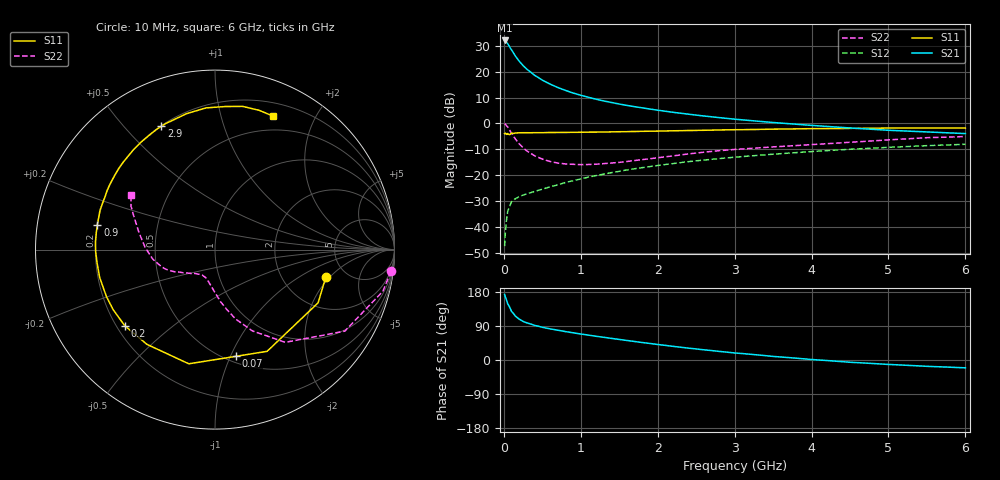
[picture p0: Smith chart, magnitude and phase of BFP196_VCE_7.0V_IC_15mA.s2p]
! Infineon Technologies  Discrete & RF Semiconductors
! BFP196
! VCE =  7.0 V,  IC =  15 mA
! Common Emitter S-Parameters:  Jan 2017
# GHz  S  MA  R  50
!  f  S11  S21  S12  S22
! GHz  MAG  ANG  MAG  ANG  MAG  ANG  MAG  ANG
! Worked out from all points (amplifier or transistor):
!   77 points, 10 MHz to 6 GHz, reference 50 ohm
!   highest |S21| = 32.1 dB at 10 MHz (marker M1)
!   |S21| within 3 dB of that: start of sweep to 85.81 MHz
!   unconditionally stable (mu >= 1): 882 MHz to 2.353 GHz
!   at 130 MHz: K = 0.31, MSG = 28.3 dB, |S12| = -29.6 dB
!   at 2.2 GHz: K = 1.02, MAG = 9.1 dB, |S12| = -15.6 dB
!   at 6 GHz: K = 0.91, MSG = 2.1 dB, |S12| = -8.1 dB
!   S11 on the Smith chart (normalised r, x): 10 MHz: 3.50, -1.81; 70 MHz: 0.56, -1.05; 200 MHz: 0.23, -0.35; 900 MHz: 0.20, +0.10; 2.9 GHz: 0.20, +0.64; 6 GHz: 0.34, +1.48
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0.01  0.6361 -14.0  40.24 173.0  0.0042 82.2  0.9889 -7.0
0.02  0.6464 -27.3  39.87 166.4  0.0079 82.3  0.9634 -14.0
0.05  0.6368 -62.9  35.03 148.3  0.0196 63.8  0.8541 -32.1
0.07  0.6058 -79.0  31.16 141.5  0.0237 56.8  0.7603 -39.1
0.1  0.6528 -102.9  26.45 128.0  0.0304 50.1  0.6478 -52.9
0.15  0.65 -125.7  20.08 115.8  0.0348 43.5  0.4986 -65.3
0.2  0.6578 -139.8  15.97 107.8  0.0382 41.6  0.4028 -73.5
0.25  0.6588 -149.6  13.13 101.9  0.041 41.6  0.3376 -79.1
0.3  0.6589 -156.7  11.13 97.9  0.0432 41.2  0.2917 -83.9
0.4  0.6612 -166.5  8.519 91.3  0.0481 44.6  0.2354 -90.6
0.5  0.6611 -173.6  6.865 86.4  0.0533 46.8  0.2036 -96.2
0.6  0.6652 -179.3  5.767 82.2  0.0591 48.9  0.1831 -101.2
0.7  0.6673 176.2  4.954 78.7  0.0644 51.1  0.1703 -104.9
0.9  0.6702 168.0  3.868 71.8  0.0776 53.3  0.1614 -112.4
1.1  0.6771 161.1  3.193 65.7  0.0911 54.7  0.16 -118.8
1.5  0.6889 148.7  2.366 54.3  0.1179 54.5  0.1758 -131.0
2.1  0.7127 131.8  1.716 38.6  0.1599 50.8  0.2252 -145.5
2.9  0.7491 113.5  1.248 20.7  0.2146 43.3  0.3042 -160.4
3.1  0.7561 109.4  1.17 17.0  0.2275 41.2  0.3198 -164.2
4.1  0.7916 92.0  0.893 -0.0  0.2904 30.4  0.3957 176.2
5.1  0.812 77.8  0.724 -12.6  0.3486 18.7  0.4886 157.7
6  0.8108 66.3  0.634 -20.7  0.3939 8.2  0.5567 146.9
